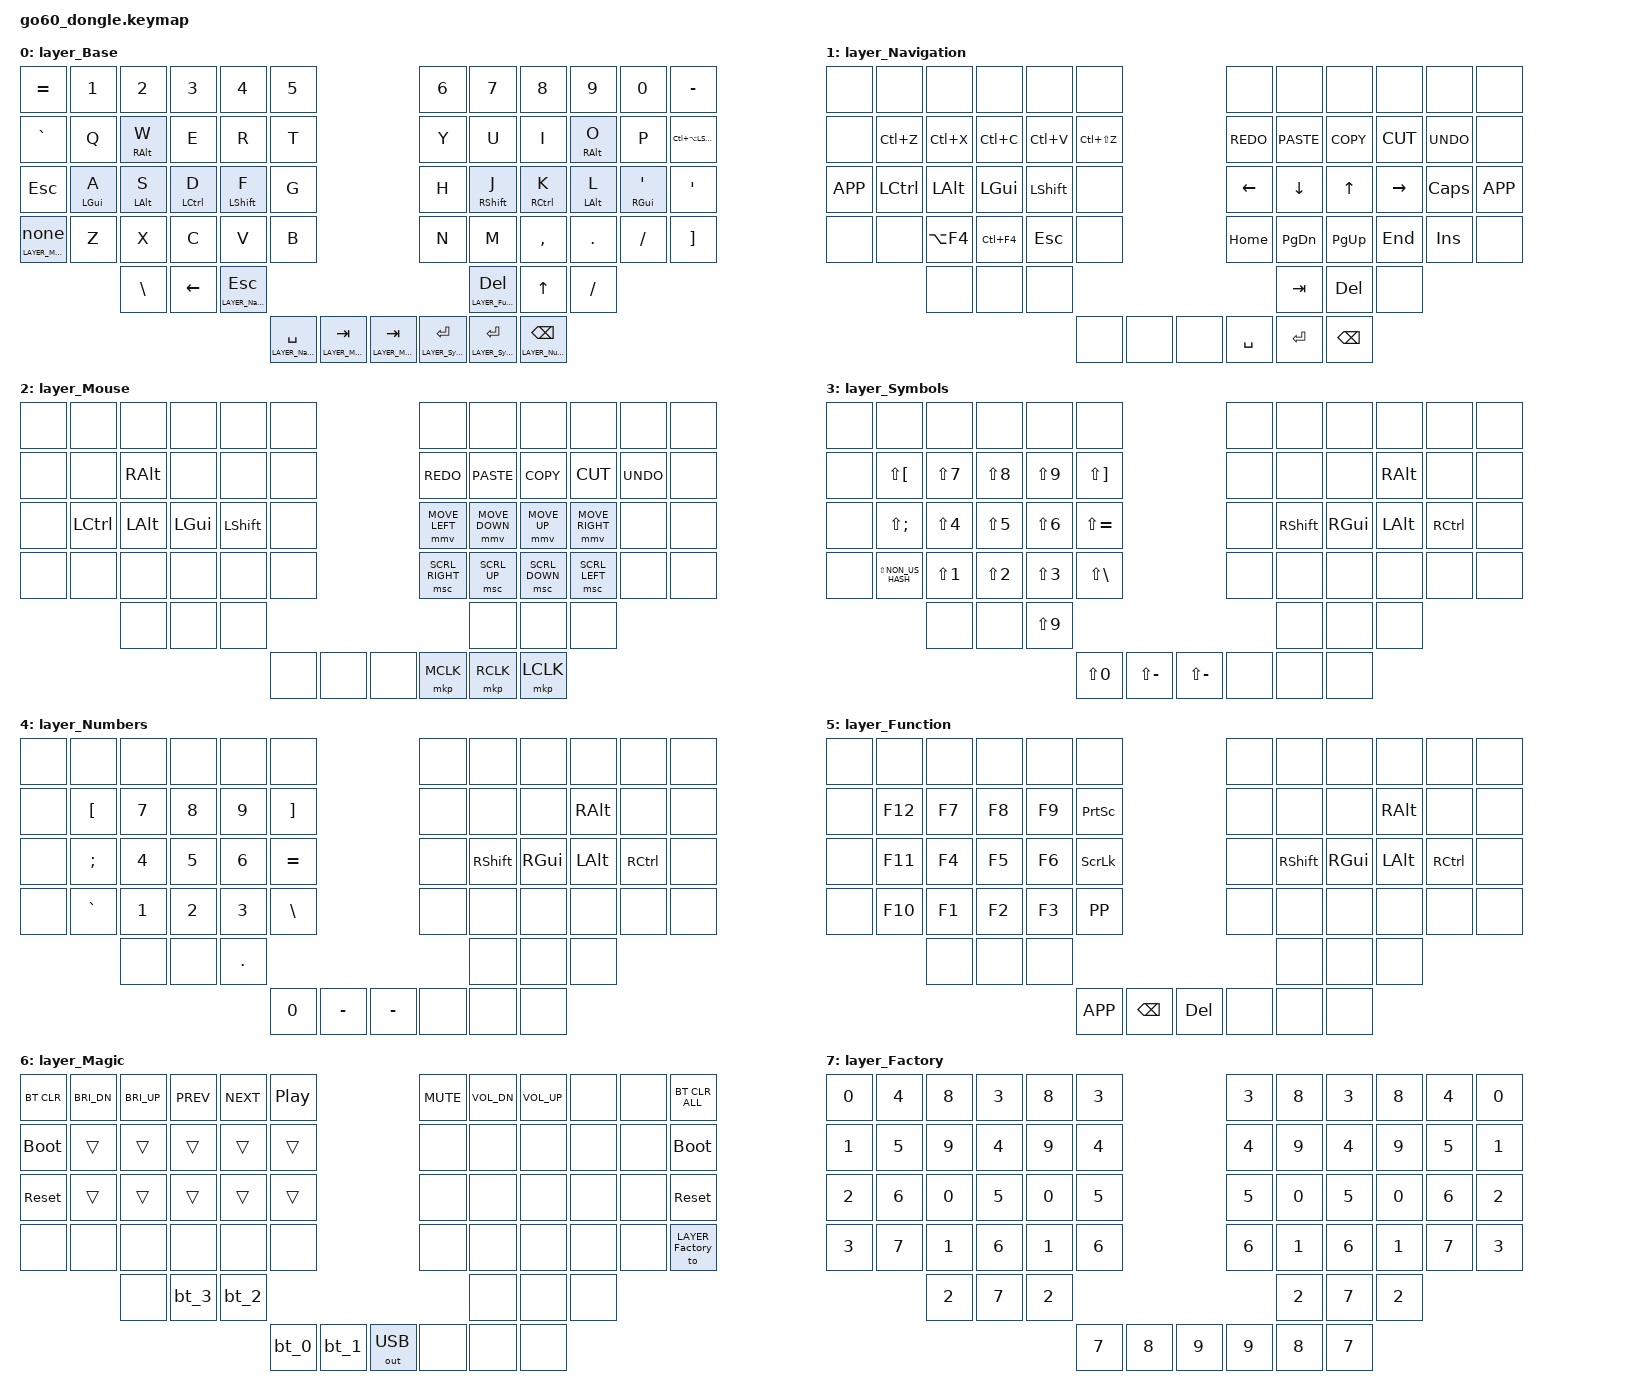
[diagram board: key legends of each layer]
/*
 * Jon's custom Go60 keymap, adapted to run on the DONGLE (central).
 * Only change from the Go60 Layout Editor export: RGB underglow bindings are
 * replaced with &trans (the XIAO dongle has no LEDs and &rgb_ug would not link).
 * All layers, homerow mods, mouse layer, and trackpad scaling are unchanged.
 *
 * Copyright (c) 2020 The ZMK Contributors
 * Copyright (c) 2025 Innaworks Development Limited, trading as MoErgo
 *
 * SPDX-License-Identifier: MIT
 */


/* THIS FILE WAS GENERATED BY GO60 LAYOUT EDITOR
 *
 * This file was generated automatically. You may or may not want to
 * edit it directly.
 */

#include <behaviors.dtsi>

/* Include all behavior includes needed */

#include <dt-bindings/zmk/outputs.h>
#include <dt-bindings/zmk/keys.h>
#include <dt-bindings/zmk/bt.h>
#include <dt-bindings/zmk/rgb.h>

#include <input/processors.dtsi>
#include <dt-bindings/zmk/input_transform.h>
#include <zephyr/dt-bindings/input/input-event-codes.h>

/* On demand includes */
#include <dt-bindings/zmk/input_transform.h>
#include <dt-bindings/zmk/pointing.h>
#include <input/processors.dtsi>

/* Helper Macros, based on https://github.com/urob/zmk-helpers/ */

#pragma once

#define ZMK_HELPER_STRINGIFY(x) #x

// Preprocessor mechanism to overload macros, cf. https://stackoverflow.com/a/27051616/6114651
#define VARGS_(_10, _9, _8, _7, _6, _5, _4, _3, _2, _1, N, ...) N
#define VARGS(...) VARGS_(__VA_ARGS__, 10, 9, 8, 7, 6, 5, 4, 3, 2, 1, 0)
#define CONCAT_(a, b) a##b
#define CONCAT(a, b) CONCAT_(a, b)

#define ZMK_BEHAVIOR_CORE_tap_dance  \
    compatible = "zmk,behavior-tap-dance"; \
    #binding-cells = <0>

#define ZMK_BEHAVIOR(name, type, ...) \
    name: name { \
        ZMK_BEHAVIOR_CORE_ ## type; \
        __VA_ARGS__ \
    };

#define ZMK_TAP_DANCE(name, ...) \
    ZMK_BEHAVIOR(name, tap_dance, __VA_ARGS__)

#define ZMK_TD_LAYER(name, layer) \
    ZMK_TAP_DANCE(name, \
        tapping-term-ms = <200>; \
        bindings = <&mo layer>, <&to layer>; \
)





/* Key positions */

#define POS_LH_C6R1 0
#define POS_LH_C5R1 1
#define POS_LH_C4R1 2
#define POS_LH_C3R1 3
#define POS_LH_C2R1 4
#define POS_LH_C1R1 5
#define POS_RH_C1R1 6
#define POS_RH_C2R1 7
#define POS_RH_C3R1 8
#define POS_RH_C4R1 9
#define POS_RH_C5R1 10
#define POS_RH_C6R1 11
#define POS_LH_C6R2 12
#define POS_LH_C5R2 13
#define POS_LH_C4R2 14
#define POS_LH_C3R2 15
#define POS_LH_C2R2 16
#define POS_LH_C1R2 17
#define POS_RH_C1R2 18
#define POS_RH_C2R2 19
#define POS_RH_C3R2 20
#define POS_RH_C4R2 21
#define POS_RH_C5R2 22
#define POS_RH_C6R2 23
#define POS_LH_C6R3 24
#define POS_LH_C5R3 25
#define POS_LH_C4R3 26
#define POS_LH_C3R3 27
#define POS_LH_C2R3 28
#define POS_LH_C1R3 29
#define POS_RH_C1R3 30
#define POS_RH_C2R3 31
#define POS_RH_C3R3 32
#define POS_RH_C4R3 33
#define POS_RH_C5R3 34
#define POS_RH_C6R3 35
#define POS_LH_C6R4 36
#define POS_LH_C5R4 37
#define POS_LH_C4R4 38
#define POS_LH_C3R4 39
#define POS_LH_C2R4 40
#define POS_LH_C1R4 41
#define POS_RH_C1R4 42
#define POS_RH_C2R4 43
#define POS_RH_C3R4 44
#define POS_RH_C4R4 45
#define POS_RH_C5R4 46
#define POS_RH_C6R4 47
#define POS_LH_C4R5 48
#define POS_LH_C3R5 49
#define POS_LH_C2R5 50
#define POS_RH_C2R5 51
#define POS_RH_C3R5 52
#define POS_RH_C4R5 53
#define POS_LH_T1 54
#define POS_LH_T2 55
#define POS_LH_T3 56
#define POS_RH_T3 57
#define POS_RH_T2 58
#define POS_RH_T1 59


#define LEFT_HAND_KEYS \
  POS_LH_C1R1 POS_LH_C2R1 POS_LH_C3R1 POS_LH_C4R1 POS_LH_C5R1 POS_LH_C6R1 \
  POS_LH_C1R2 POS_LH_C2R2 POS_LH_C3R2 POS_LH_C4R2 POS_LH_C5R2 POS_LH_C6R2 \
  POS_LH_C1R3 POS_LH_C2R3 POS_LH_C3R3 POS_LH_C4R3 POS_LH_C5R3 POS_LH_C6R3 \
  POS_LH_C1R4 POS_LH_C2R4 POS_LH_C3R4 POS_LH_C4R4 POS_LH_C5R4 POS_LH_C6R4 \
              POS_LH_C2R5 POS_LH_C3R5 POS_LH_C4R5

#define RIGHT_HAND_KEYS \
  POS_RH_C1R1 POS_RH_C2R1 POS_RH_C3R1 POS_RH_C4R1 POS_RH_C5R1 POS_RH_C6R1 \
  POS_RH_C1R2 POS_RH_C2R2 POS_RH_C3R2 POS_RH_C4R2 POS_RH_C5R2 POS_RH_C6R2 \
  POS_RH_C1R3 POS_RH_C2R3 POS_RH_C3R3 POS_RH_C4R3 POS_RH_C5R3 POS_RH_C6R3 \
  POS_RH_C1R4 POS_RH_C2R4 POS_RH_C3R4 POS_RH_C4R4 POS_RH_C5R4 POS_RH_C6R4 \
              POS_RH_C2R5 POS_RH_C3R5 POS_RH_C4R5

#define THUMB_KEYS \
  POS_LH_T1 POS_LH_T2 POS_LH_T3 \
  POS_RH_T1 POS_RH_T2 POS_RH_T3

/* Environment and metadata defines */
#define KB_TYPE_GLOVE_80 1
#define KB_TYPE_GO_60    2

#define KB_TYPE          KB_TYPE_GO_60
#define EDITOR_HOST_OS   'L'

/* Automatically generated layer name defines */
#define LAYER_Base 0
#define LAYER_Navigation 1
#define LAYER_Mouse 2
#define LAYER_Symbols 3
#define LAYER_Numbers 4
#define LAYER_Function 5
#define LAYER_Magic 6
#define LAYER_Factory 7

/* To deal with the situation where there is no Lower layer, to keep &lower happy */
#ifndef LAYER_Lower
#define LAYER_Lower 0
#endif

/* Generated input processors */
/ {
    input_processors {
        zip_click_to_right_click_mapper: zip_click_to_right_click_mapper {
            compatible = "zmk,input-processor-code-mapper";
            #input-processor-cells = <0>;
            type = <INPUT_EV_KEY>;
            map = <INPUT_BTN_0 INPUT_BTN_1>;
        };
    };
};

/* Custom Device-tree */


/* Input Listeners */
&cirque_lh_listener {
    input-processors = <&zip_xy_scaler 11 12>, <&zip_xy_to_scroll_mapper>, <&zip_click_to_right_click_mapper>;
};

&cirque_rh_listener {
    input-processors = <&zip_xy_scaler 3 1>;
    layer_Navigation {
        layers = <LAYER_Navigation>;
        input-processors = <&zip_xy_scaler 9 1>;
    };
};

/* System behavior and macros */
/ {
    behaviors {
        ZMK_TD_LAYER(lower, LAYER_Lower)
    };
};

/ {
    macros {
    };
};

/ {
#ifdef BT_DISC_CMD
    behaviors {
        bt_0: bt_0 {
            compatible = "zmk,behavior-tap-dance";
            label = "BT_0";
            #binding-cells = <0>;
            tapping-term-ms = <200>;
            bindings = <&bt_select_0>, <&bt BT_DISC 0>;
        };
        bt_1: bt_1 {
            compatible = "zmk,behavior-tap-dance";
            label = "BT_1";
            #binding-cells = <0>;
            tapping-term-ms = <200>;
            bindings = <&bt_select_1>, <&bt BT_DISC 1>;
        };
        bt_2: bt_2 {
            compatible = "zmk,behavior-tap-dance";
            label = "BT_2";
            #binding-cells = <0>;
            tapping-term-ms = <200>;
            bindings = <&bt_select_2>, <&bt BT_DISC 2>;
        };
        bt_3: bt_3 {
            compatible = "zmk,behavior-tap-dance";
            label = "BT_3";
            #binding-cells = <0>;
            tapping-term-ms = <200>;
            bindings = <&bt_select_3>, <&bt BT_DISC 3>;
        };
    };
    macros {
        bt_select_0: bt_select_0 {
            label = "BT_SELECT_0";
            compatible = "zmk,behavior-macro";
            #binding-cells = <0>;
            bindings
                = <&out OUT_BLE>,
                  <&bt BT_SEL 0>;
        };
        bt_select_1: bt_select_1 {
            label = "BT_SELECT_1";
            compatible = "zmk,behavior-macro";
            #binding-cells = <0>;
            bindings
                = <&out OUT_BLE>,
                  <&bt BT_SEL 1>;
        };
        bt_select_2: bt_select_2 {
            label = "BT_SELECT_2";
            compatible = "zmk,behavior-macro";
            #binding-cells = <0>;
            bindings
                = <&out OUT_BLE>,
                  <&bt BT_SEL 2>;
        };
        bt_select_3: bt_select_3 {
            label = "BT_SELECT_3";
            compatible = "zmk,behavior-macro";
            #binding-cells = <0>;
            bindings
                = <&out OUT_BLE>,
                  <&bt BT_SEL 3>;
        };
    };
#else
    macros {
        bt_0: bt_0 {
            label = "BT_0";
            compatible = "zmk,behavior-macro";
            #binding-cells = <0>;
            bindings
                = <&out OUT_BLE>,
                  <&bt BT_SEL 0>;
        };
        bt_1: bt_1 {
            label = "BT_1";
            compatible = "zmk,behavior-macro";
            #binding-cells = <0>;
            bindings
                = <&out OUT_BLE>,
                  <&bt BT_SEL 1>;
        };
        bt_2: bt_2 {
            label = "BT_2";
            compatible = "zmk,behavior-macro";
            #binding-cells = <0>;
            bindings
                = <&out OUT_BLE>,
                  <&bt BT_SEL 2>;
        };
        bt_3: bt_3 {
            label = "BT_3";
            compatible = "zmk,behavior-macro";
            #binding-cells = <0>;
            bindings
                = <&out OUT_BLE>,
                  <&bt BT_SEL 3>;
        };
    };
#endif
};

/ {
    behaviors {
        magic: magic {
            compatible = "zmk,behavior-hold-tap";
            label = "MAGIC_HOLD_TAP";
            #binding-cells = <2>;
            flavor = "tap-preferred";
            tapping-term-ms = <200>;
            bindings = <&mo>, <&none>;
        };
    };
};


/* Custom Defined Behaviors */
/ {

};

/* Automatically generated macro definitions */
/ {
    macros {

    };
};

/* Automatically generated behavior definitions */
/ {
    behaviors {


        // Homerow Mod for the left index finger - TailorKey.
        // For advanced tuning of HRM values, see: https://docs.google.com/spreadsheets/d/1ESgObQelyz4lnKlfwLYsmofLJulOMK5RdGBsopLe2o8
        HRM_left_index_v1_TKZ: HRM_left_index_v1_TKZ {
            compatible = "zmk,behavior-hold-tap";
            #binding-cells = <2>;
            tapping-term-ms = <190>;
            bindings = <&kp>, <&kp>;
            flavor = "tap-preferred";
            quick-tap-ms = <300>;
            require-prior-idle-ms = <100>;
            hold-trigger-key-positions = <POS_LH_T1 POS_LH_T2 POS_LH_T3 POS_RH_C1R1 POS_RH_C2R1 POS_RH_C3R1 POS_RH_C4R1 POS_RH_C5R1 POS_RH_C1R2 POS_RH_C2R2 POS_RH_C3R2 POS_RH_C4R2 POS_RH_C5R2 POS_RH_C1R3 POS_RH_C2R3 POS_RH_C3R3 POS_RH_C4R3 POS_RH_C5R3 POS_RH_C1R4 POS_RH_C2R4 POS_RH_C3R4 POS_RH_C4R4 POS_RH_C5R4 POS_RH_T3 POS_RH_T2 POS_RH_T1 POS_RH_C6R1 POS_RH_C6R2 POS_RH_C6R3 POS_RH_C6R4 POS_RH_C3R5 POS_RH_C4R5 POS_RH_C2R5>;
            hold-trigger-on-release;
        };

        // Homerow Mod for the left middle finger - TailorKey
        HRM_left_middy_v1_TKZ: HRM_left_middy_v1_TKZ {
            compatible = "zmk,behavior-hold-tap";
            #binding-cells = <2>;
            tapping-term-ms = <210>;
            bindings = <&kp>, <&kp>;
            flavor = "tap-preferred";
            quick-tap-ms = <300>;
            require-prior-idle-ms = <150>;
            hold-trigger-key-positions = <POS_LH_T1 POS_LH_T2 POS_LH_T3 POS_RH_C1R1 POS_RH_C2R1 POS_RH_C3R1 POS_RH_C4R1 POS_RH_C5R1 POS_RH_C1R2 POS_RH_C2R2 POS_RH_C3R2 POS_RH_C4R2 POS_RH_C5R2 POS_RH_C1R3 POS_RH_C2R3 POS_RH_C3R3 POS_RH_C4R3 POS_RH_C5R3 POS_RH_C1R4 POS_RH_C2R4 POS_RH_C3R4 POS_RH_C4R4 POS_RH_C5R4 POS_RH_T3 POS_RH_T2 POS_RH_T1 POS_RH_C6R1 POS_RH_C6R2 POS_RH_C6R3 POS_RH_C6R4 POS_RH_C2R5 POS_RH_C3R5 POS_RH_C4R5>;
            hold-trigger-on-release;
        };

        // Homerow Mod for the left pinky - TailorKey
        HRM_left_pinky_v1_TKZ: HRM_left_pinky_v1_TKZ {
            compatible = "zmk,behavior-hold-tap";
            #binding-cells = <2>;
            tapping-term-ms = <260>;
            bindings = <&kp>, <&kp>;
            flavor = "tap-preferred";
            quick-tap-ms = <300>;
            require-prior-idle-ms = <150>;
            hold-trigger-key-positions = <POS_LH_T1 POS_LH_T2 POS_LH_T3 POS_RH_C1R1 POS_RH_C2R1 POS_RH_C3R1 POS_RH_C4R1 POS_RH_C5R1 POS_RH_C6R1 POS_RH_C2R2 POS_RH_C3R2 POS_RH_C4R2 POS_RH_C5R2 POS_RH_C6R2 POS_RH_C3R3 POS_RH_C4R3 POS_RH_C5R3 POS_RH_C6R3 POS_RH_C3R4 POS_RH_C4R4 POS_RH_C5R4 POS_RH_C6R4 POS_RH_C1R2 POS_RH_C1R3 POS_RH_C2R3 POS_RH_C1R4 POS_RH_C2R4 POS_RH_T3 POS_RH_T2 POS_RH_T1 POS_RH_C2R5 POS_RH_C3R5 POS_RH_C4R5>;
            hold-trigger-on-release;
        };

        // Homerow Mod for the left ring finger 1 - TailorKey
        HRM_left_ring_v1_TKZ: HRM_left_ring_v1_TKZ {
            compatible = "zmk,behavior-hold-tap";
            #binding-cells = <2>;
            tapping-term-ms = <240>;
            bindings = <&kp>, <&kp>;
            flavor = "tap-preferred";
            quick-tap-ms = <300>;
            require-prior-idle-ms = <150>;
            hold-trigger-key-positions = <POS_LH_T1 POS_LH_T2 POS_LH_T3 POS_RH_C1R1 POS_RH_C2R1 POS_RH_C3R1 POS_RH_C4R1 POS_RH_C5R1 POS_RH_C1R2 POS_RH_C2R2 POS_RH_C3R2 POS_RH_C4R2 POS_RH_C5R2 POS_RH_C1R3 POS_RH_C2R3 POS_RH_C3R3 POS_RH_C4R3 POS_RH_C5R3 POS_RH_C1R4 POS_RH_C2R4 POS_RH_C3R4 POS_RH_C4R4 POS_RH_C5R4 POS_RH_T3 POS_RH_T2 POS_RH_T1 POS_RH_C6R1 POS_RH_C6R2 POS_RH_C6R3 POS_RH_C6R4 POS_RH_C2R5 POS_RH_C3R5 POS_RH_C4R5>;
            hold-trigger-on-release;
        };

        // Homerow Mod for the right index finger - TailorKey
        HRM_right_index_v1_TKZ: HRM_right_index_v1_TKZ {
            compatible = "zmk,behavior-hold-tap";
            #binding-cells = <2>;
            tapping-term-ms = <190>;
            bindings = <&kp>, <&kp>;
            flavor = "tap-preferred";
            quick-tap-ms = <300>;
            require-prior-idle-ms = <100>;
            hold-trigger-key-positions = <POS_RH_C4R5 POS_RH_C3R5 POS_RH_C2R5 POS_LH_C6R1 POS_LH_C5R1 POS_LH_C4R1 POS_LH_C3R1 POS_LH_C2R1 POS_LH_C6R2 POS_LH_C5R2 POS_LH_C4R2 POS_LH_C3R2 POS_LH_C2R2 POS_LH_C1R2 POS_LH_C6R3 POS_LH_C5R3 POS_LH_C4R3 POS_LH_C3R3 POS_LH_C2R3 POS_LH_C1R3 POS_LH_C6R4 POS_LH_C5R4 POS_LH_C4R4 POS_LH_C3R4 POS_LH_C2R4 POS_LH_C1R4 POS_LH_C4R5 POS_LH_C3R5 POS_LH_C2R5 POS_LH_C1R1 POS_LH_T1 POS_LH_T2 POS_LH_T3>;
            hold-trigger-on-release;
        };

        // Homerow Mod for the right middle finger - TailorKey
        HRM_right_middy_v1_TKZ: HRM_right_middy_v1_TKZ {
            compatible = "zmk,behavior-hold-tap";
            #binding-cells = <2>;
            tapping-term-ms = <210>;
            bindings = <&kp>, <&kp>;
            flavor = "tap-preferred";
            quick-tap-ms = <300>;
            require-prior-idle-ms = <150>;
            hold-trigger-key-positions = <POS_RH_C4R5 POS_RH_C3R5 POS_RH_C2R5 POS_LH_C6R1 POS_LH_C5R1 POS_LH_C4R1 POS_LH_C3R1 POS_LH_C2R1 POS_LH_C6R2 POS_LH_C5R2 POS_LH_C4R2 POS_LH_C3R2 POS_LH_C2R2 POS_LH_C1R2 POS_LH_C6R3 POS_LH_C5R3 POS_LH_C4R3 POS_LH_C3R3 POS_LH_C2R3 POS_LH_C1R3 POS_LH_C6R4 POS_LH_C5R4 POS_LH_C4R4 POS_LH_C3R4 POS_LH_C2R4 POS_LH_C1R4 POS_LH_C4R5 POS_LH_C3R5 POS_LH_C2R5 POS_LH_C1R1 POS_LH_T1 POS_LH_T2 POS_LH_T3>;
            hold-trigger-on-release;
        };

        // Homerow Mod for the right pinky - TailorKey
        HRM_right_pinky_v1_TKZ: HRM_right_pinky_v1_TKZ {
            compatible = "zmk,behavior-hold-tap";
            #binding-cells = <2>;
            tapping-term-ms = <260>;
            bindings = <&kp>, <&kp>;
            flavor = "tap-preferred";
            quick-tap-ms = <300>;
            require-prior-idle-ms = <150>;
            hold-trigger-key-positions = <POS_RH_C4R5 POS_RH_C3R5 POS_RH_C2R5 POS_LH_C6R1 POS_LH_C5R1 POS_LH_C4R1 POS_LH_C3R1 POS_LH_C2R1 POS_LH_C6R2 POS_LH_C5R2 POS_LH_C4R2 POS_LH_C3R2 POS_LH_C2R2 POS_LH_C1R2 POS_LH_C6R3 POS_LH_C5R3 POS_LH_C4R3 POS_LH_C3R3 POS_LH_C2R3 POS_LH_C1R3 POS_LH_C6R4 POS_LH_C5R4 POS_LH_C4R4 POS_LH_C3R4 POS_LH_C2R4 POS_LH_C1R4 POS_LH_C4R5 POS_LH_C3R5 POS_LH_C2R5 POS_LH_C1R1 POS_LH_T1 POS_LH_T2 POS_LH_T3>;
            hold-trigger-on-release;
        };

        // Homerow Mod for the right ring 1 - TailorKey
        //
        HRM_right_ring_v1_TKZ: HRM_right_ring_v1_TKZ {
            compatible = "zmk,behavior-hold-tap";
            #binding-cells = <2>;
            tapping-term-ms = <240>;
            bindings = <&kp>, <&kp>;
            flavor = "tap-preferred";
            quick-tap-ms = <300>;
            require-prior-idle-ms = <150>;
            hold-trigger-key-positions = <POS_RH_C4R5 POS_RH_C3R5 POS_RH_C2R5 POS_LH_C6R1 POS_LH_C5R1 POS_LH_C4R1 POS_LH_C3R1 POS_LH_C2R1 POS_LH_C6R2 POS_LH_C5R2 POS_LH_C4R2 POS_LH_C3R2 POS_LH_C2R2 POS_LH_C1R2 POS_LH_C6R3 POS_LH_C5R3 POS_LH_C4R3 POS_LH_C3R3 POS_LH_C2R3 POS_LH_C1R3 POS_LH_C6R4 POS_LH_C5R4 POS_LH_C4R4 POS_LH_C3R4 POS_LH_C2R4 POS_LH_C1R4 POS_LH_C4R5 POS_LH_C3R5 POS_LH_C2R5 POS_LH_C1R1 POS_LH_T1 POS_LH_T2 POS_LH_T3>;
            hold-trigger-on-release;
        };

        // space_layer_access - TailorKey
        space_v3_TKZ: space_v3_TKZ {
            compatible = "zmk,behavior-hold-tap";
            #binding-cells = <2>;
            tapping-term-ms = <200>;
            bindings = <&mo>, <&kp>;
            flavor = "balanced";
            quick-tap-ms = <150>;
        };

        // thumb_layer_access - TailorKey
        thumb_v2_TKZ: thumb_v2_TKZ {
            compatible = "zmk,behavior-hold-tap";
            #binding-cells = <2>;
            tapping-term-ms = <200>;
            bindings = <&mo>, <&kp>;
            flavor = "balanced";
            quick-tap-ms = <300>;
        };
    };
};

/* Automatically generated combos definitions */


/* Automatically generated keymap */
/ {
    keymap {
        compatible = "zmk,keymap";


        layer_Base {
            bindings = <
            &kp EQUAL                         &kp N1                        &kp N2                          &kp N3                              &kp N4  &kp N5                                                                                                                                                                                                          &kp N6                            &kp N7                           &kp N8                         &kp N9                            &kp N0          &kp MINUS
            &kp GRAVE                          &kp Q  &HRM_left_ring_v1_TKZ RALT W                           &kp E                               &kp R   &kp T                                                                                                                                                                                                           &kp Y                             &kp U                            &kp I  &HRM_right_ring_v1_TKZ RALT O                             &kp P  &kp LC(LA(LSHFT))
              &kp ESC  &HRM_left_pinky_v1_TKZ LGUI A  &HRM_left_ring_v1_TKZ LALT S  &HRM_left_middy_v1_TKZ LCTRL D      &HRM_left_index_v1_TKZ LSHFT F   &kp G                                                                                                                                                                                                           &kp H   &HRM_right_index_v1_TKZ RSHFT J  &HRM_right_middy_v1_TKZ RCTRL K  &HRM_right_ring_v1_TKZ LALT L  &HRM_right_pinky_v1_TKZ RGUI SQT            &kp SQT
 &magic LAYER_Magic 0                          &kp Z                         &kp X                           &kp C                               &kp V   &kp B                                                                                                                                                                                                           &kp N                             &kp M                        &kp COMMA                        &kp DOT                          &kp FSLH           &kp RBKT
                                                                          &kp BSLH                        &kp LEFT  &thumb_v2_TKZ LAYER_Navigation ESC                                                                                                                                                                                                                          &thumb_v2_TKZ LAYER_Function DEL                           &kp UP                       &kp FSLH
                                                                                                                                                                &thumb_v2_TKZ LAYER_Navigation SPACE  &thumb_v2_TKZ LAYER_Mouse TAB  &thumb_v2_TKZ LAYER_Mouse TAB  &thumb_v2_TKZ LAYER_Symbols RET  &thumb_v2_TKZ LAYER_Symbols RET  &thumb_v2_TKZ LAYER_Numbers BSPC
            >;
        };

        layer_Navigation {
            bindings = <
     &none      &none       &none       &none      &none          &none                                                             &none        &none       &none      &none       &none      &none
     &none  &kp LC(Z)   &kp LC(X)   &kp LC(C)  &kp LC(V)  &kp LC(LS(Z))                                                        &kp K_REDO  &kp K_PASTE  &kp K_COPY  &kp K_CUT  &kp K_UNDO      &none
 &kp K_APP  &kp LCTRL    &kp LALT    &kp LGUI  &kp LSHFT          &none                                                          &kp LEFT     &kp DOWN      &kp UP  &kp RIGHT    &kp CAPS  &kp K_APP
     &none      &none  &kp LA(F4)  &kp LC(F4)    &kp ESC          &none                                                          &kp HOME    &kp PG_DN   &kp PG_UP    &kp END     &kp INS      &none
                            &none       &none      &none                                                                                       &kp TAB     &kp DEL      &none
                                                                          &none   &none   &none  &kp SPACE  &kp RET  &kp BSPC
            >;
        };

        layer_Mouse {
            bindings = <
  &none      &none     &none     &none      &none   &none                                                                     &none           &none           &none            &none       &none   &none
  &none      &none  &kp RALT     &none      &none   &none                                                                &kp K_REDO     &kp K_PASTE      &kp K_COPY        &kp K_CUT  &kp K_UNDO   &none
  &none  &kp LCTRL  &kp LALT  &kp LGUI  &kp LSHFT   &none                                                            &mmv MOVE_LEFT  &mmv MOVE_DOWN    &mmv MOVE_UP  &mmv MOVE_RIGHT       &none   &none
  &none      &none     &none     &none      &none   &none                                                           &msc SCRL_RIGHT    &msc SCRL_UP  &msc SCRL_DOWN   &msc SCRL_LEFT       &none   &none
                       &none     &none      &none                                                                                             &none           &none            &none
                                                            &none   &none   &none  &mkp MCLK  &mkp RCLK  &mkp LCLK
            >;
        };

        layer_Symbols {
            bindings = <
  &none                &none       &none       &none       &none          &none                                                                     &none      &none     &none     &none      &none   &none
  &none         &kp LS(LBKT)  &kp LS(N7)  &kp LS(N8)  &kp LS(N9)   &kp LS(RBKT)                                                                     &none      &none     &none  &kp RALT      &none   &none
  &none         &kp LS(SEMI)  &kp LS(N4)  &kp LS(N5)  &kp LS(N6)  &kp LS(EQUAL)                                                                     &none  &kp RSHFT  &kp RGUI  &kp LALT  &kp RCTRL   &none
  &none  &kp LS(NON_US_HASH)  &kp LS(N1)  &kp LS(N2)  &kp LS(N3)   &kp LS(BSLH)                                                                     &none      &none     &none     &none      &none   &none
                                   &none       &none  &kp LS(N9)                                                                                               &none     &none     &none
                                                                                 &kp LS(N0)  &kp LS(MINUS)  &kp LS(MINUS)   &none   &none   &none
            >;
        };

        layer_Numbers {
            bindings = <
  &none      &none   &none   &none    &none      &none                                                         &none      &none     &none     &none      &none   &none
  &none   &kp LBKT  &kp N7  &kp N8   &kp N9   &kp RBKT                                                         &none      &none     &none  &kp RALT      &none   &none
  &none   &kp SEMI  &kp N4  &kp N5   &kp N6  &kp EQUAL                                                         &none  &kp RSHFT  &kp RGUI  &kp LALT  &kp RCTRL   &none
  &none  &kp GRAVE  &kp N1  &kp N2   &kp N3   &kp BSLH                                                         &none      &none     &none     &none      &none   &none
                     &none   &none  &kp DOT                                                                               &none     &none     &none
                                                        &kp N0  &kp MINUS  &kp MINUS   &none   &none   &none
            >;
        };

        layer_Function {
            bindings = <
  &none    &none   &none   &none   &none      &none                                                         &none      &none     &none     &none      &none   &none
  &none  &kp F12  &kp F7  &kp F8  &kp F9  &kp PSCRN                                                         &none      &none     &none  &kp RALT      &none   &none
  &none  &kp F11  &kp F4  &kp F5  &kp F6   &kp SLCK                                                         &none  &kp RSHFT  &kp RGUI  &kp LALT  &kp RCTRL   &none
  &none  &kp F10  &kp F1  &kp F2  &kp F3   &kp K_PP                                                         &none      &none     &none     &none      &none   &none
                   &none   &none   &none                                                                               &none     &none     &none
                                                     &kp K_APP  &kp BSPC  &kp DEL   &none   &none   &none
            >;
        };

        layer_Magic {
            bindings = <
  &bt BT_CLR     &kp C_BRI_DN     &kp C_BRI_UP       &kp C_PREV       &kp C_NEXT         &kp C_PP                                                        &kp C_MUTE  &kp C_VOL_DN  &kp C_VOL_UP   &none   &none     &bt BT_CLR_ALL
 &bootloader  &trans  &trans  &trans  &trans  &trans                                                             &none         &none         &none   &none   &none        &bootloader
  &sys_reset  &trans  &trans  &trans  &trans  &trans                                                             &none         &none         &none   &none   &none         &sys_reset
       &none            &none            &none            &none            &none            &none                                                             &none         &none         &none   &none   &none  &to LAYER_Factory
                                         &none            &bt_3            &bt_2                                                                                            &none         &none   &none
                                                                                                    &bt_0   &bt_1  &out OUT_USB   &none   &none   &none
            >;
        };

        layer_Factory {
            bindings = <
 &kp N0  &kp N4  &kp N8  &kp N3  &kp N8  &kp N3                                                  &kp N3  &kp N8  &kp N3  &kp N8  &kp N4  &kp N0
 &kp N1  &kp N5  &kp N9  &kp N4  &kp N9  &kp N4                                                  &kp N4  &kp N9  &kp N4  &kp N9  &kp N5  &kp N1
 &kp N2  &kp N6  &kp N0  &kp N5  &kp N0  &kp N5                                                  &kp N5  &kp N0  &kp N5  &kp N0  &kp N6  &kp N2
 &kp N3  &kp N7  &kp N1  &kp N6  &kp N1  &kp N6                                                  &kp N6  &kp N1  &kp N6  &kp N1  &kp N7  &kp N3
                 &kp N2  &kp N7  &kp N2                                                                  &kp N2  &kp N7  &kp N2
                                                 &kp N7  &kp N8  &kp N9  &kp N9  &kp N8  &kp N7
            >;
        };

    };
};
